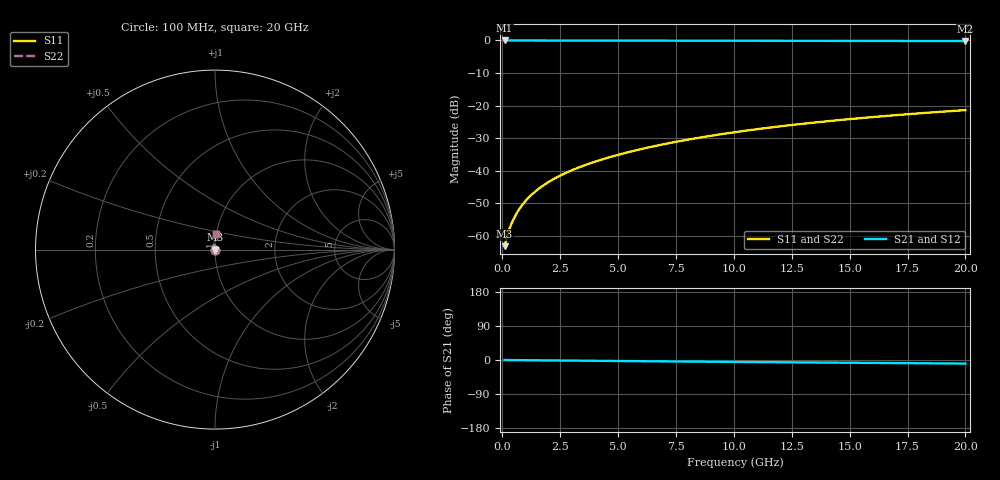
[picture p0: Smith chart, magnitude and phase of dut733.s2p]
! Touchstone file exported from HFSS 2024.1.0
!  File:  C:/UserFiles/LocalFiles/RDL_TSV_Batchsim/temp_RDL_top_733_1779851141.aedt
!  Generated:  11:07:39 AM May 27, 2026
!  Design:  RDL_top
!  Project:  temp_RDL_top_733_1779851141
!  Setup:  Setup1
!  Solution:  Sweep
! Variables:
!  dtsv = 10.80580581um
!  hbump = 3um
!  htsv = 63.22um
!  ldown = 100um
!  lrdl = 133.96um
!  p = 40
!  p1 = 41.63um
!  rhole = 1um
!  t = 450um
!  tdown = 3.915915916um
!  trdl = 4.83um
!  wdown = 15.38538539um
!  wrdl = 25.25um
# GHz S MA R 50.000000
! Terminal data exported
! Port[1] = Box2_T1
! Port[2] = Box2_T2
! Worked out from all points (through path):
!   200 points, 100 MHz to 20 GHz, reference 50 ohm
!   highest |S21| = 0.00 dB at 100 MHz (marker M1); lowest = -0.2 dB at 20 GHz (marker M2)
!   group delay of S21, straight-line fit = 1.29 ps
!   lowest |S11| = -63.2 dB at 100 MHz (marker M3), VSWR 1.00, Z = 50.1 + j0.0393 ohm
!   |S11| at or under -10 dB: start of sweep to end of sweep
!   |S22| runs from -63.2 to -21.4 dB; largest |S21 - S12| = 4.2e-15
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0.1  0.0006887 34.7  0.9994 -0.1  0.9994 -0.1  0.0006887 34.7
! Gamma 0 0 0 0
! Port Impedance 50 0 50 0
0.2  0.0009615 50.6  0.9994 -0.1  0.9994 -0.1  0.0009615 50.6
0.3  0.001247 59.1  0.9993 -0.2  0.9993 -0.2  0.001247 59.1
0.4  0.001538 64.8  0.9993 -0.2  0.9993 -0.2  0.001538 64.8
0.5  0.001835 68.9  0.9992 -0.3  0.9992 -0.3  0.001835 68.9
0.6  0.002139 72.0  0.9992 -0.3  0.9992 -0.3  0.002139 72.0
0.8  0.002762 76.4  0.9991 -0.5  0.9991 -0.5  0.002762 76.4
1.1  0.003719 80.6  0.999 -0.6  0.999 -0.6  0.003719 80.6
1.3  0.004367 82.4  0.9989 -0.7  0.9989 -0.7  0.004367 82.4
1.6  0.005351 84.5  0.9987 -0.9  0.9987 -0.9  0.005351 84.5
2.1  0.007016 86.9  0.9984 -1.2  0.9984 -1.2  0.007016 86.9
2.7  0.009059 88.9  0.9978 -1.5  0.9978 -1.5  0.009059 88.9
3.5  0.01187 90.8  0.997 -1.9  0.997 -1.9  0.01187 90.8
4.2  0.01442 92.0  0.9961 -2.3  0.9961 -2.3  0.01442 92.0
5  0.01745 93.1  0.9951 -2.7  0.9951 -2.7  0.01745 93.1
6.8  0.0247 94.3  0.9927 -3.6  0.9927 -3.6  0.0247 94.3
8.4  0.03157 94.4  0.9906 -4.3  0.9906 -4.3  0.03157 94.4
10.1  0.03916 94.0  0.9885 -5.1  0.9885 -5.1  0.03916 94.0
11.7  0.04648 93.3  0.9866 -5.8  0.9866 -5.8  0.04648 93.3
13.4  0.05436 92.3  0.9848 -6.5  0.9848 -6.5  0.05436 92.3
16.7  0.06972 90.2  0.9817 -8.0  0.9817 -8.0  0.06972 90.2
20  0.08501 88.0  0.9788 -9.4  0.9788 -9.4  0.08501 88.0
